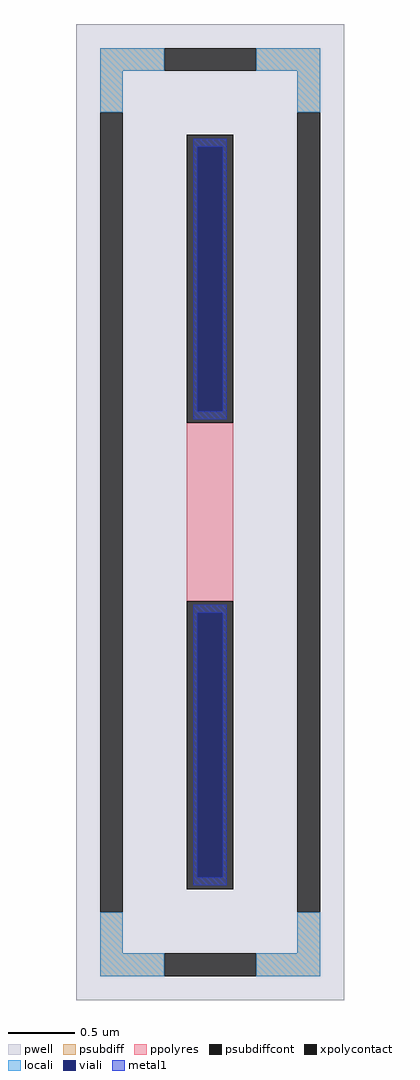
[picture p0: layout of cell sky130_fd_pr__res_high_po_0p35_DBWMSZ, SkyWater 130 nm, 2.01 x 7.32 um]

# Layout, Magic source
magic
tech sky130A
magscale 1 2
<< pwell >>
rect -201 -732 201 732
<< psubdiff >>
rect -165 662 -69 696
rect 69 662 165 696
rect -165 600 -131 662
rect 131 600 165 662
rect -165 -662 -131 -600
rect 131 -662 165 -600
rect -165 -696 -69 -662
rect 69 -696 165 -662
<< psubdiffcont >>
rect -69 662 69 696
rect -165 -600 -131 600
rect 131 -600 165 600
rect -69 -696 69 -662
<< xpolycontact >>
rect -35 134 35 566
rect -35 -566 35 -134
<< ppolyres >>
rect -35 -134 35 134
<< locali >>
rect -165 662 -69 696
rect 69 662 165 696
rect -165 600 -131 662
rect 131 600 165 662
rect -165 -662 -131 -600
rect 131 -662 165 -600
rect -165 -696 -69 -662
rect 69 -696 165 -662
<< viali >>
rect -19 151 19 548
rect -19 -548 19 -151
<< metal1 >>
rect -25 548 25 560
rect -25 151 -19 548
rect 19 151 25 548
rect -25 139 25 151
rect -25 -151 25 -139
rect -25 -548 -19 -151
rect 19 -548 25 -151
rect -25 -560 25 -548
<< properties >>
string FIXED_BBOX -148 -679 148 679
string gencell sky130_fd_pr__res_high_po_0p35
string library sky130
string parameters w 0.350 l 1.5 m 1 nx 1 wmin 0.350 lmin 0.50 rho 319.8 val 2.483k dummy 0 dw 0.0 term 194.82 sterm 0.0 caplen 0 guard 1 glc 1 grc 1 gtc 1 gbc 1 compatible {sky130_fd_pr__res_high_po_0p35  sky130_fd_pr__res_high_po_0p69 sky130_fd_pr__res_high_po_1p41  sky130_fd_pr__res_high_po_2p85 sky130_fd_pr__res_high_po_5p73} snake 0 full_metal 1 wmax 0.350 vias 1 n_guard 0 hv_guard 0 viagb 0 viagt 0 viagl 0 viagr 0
<< end >>
